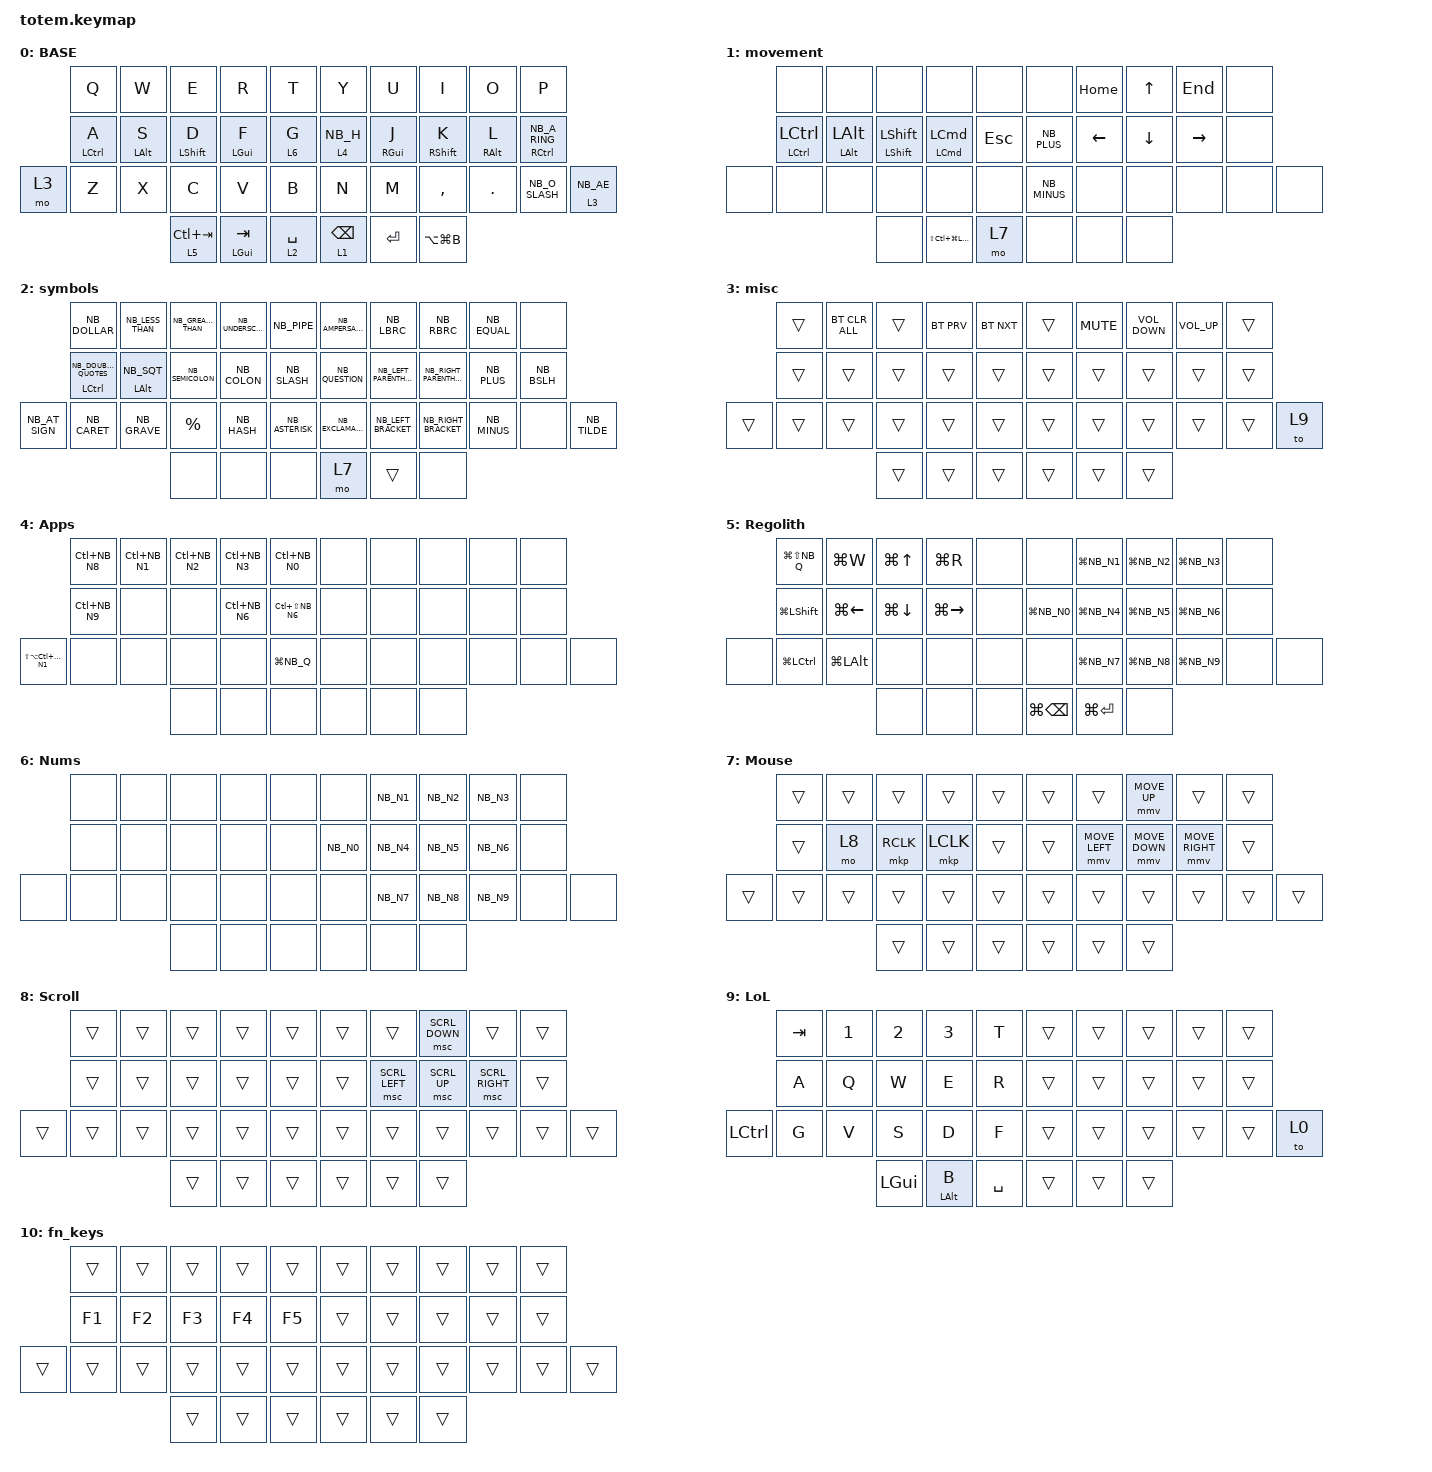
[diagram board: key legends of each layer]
//
//                                                        ▀▀▀▀▀     ▀▀▀▀▀          ▀▀█▀▀
//                                                        ▄▀▀▀▄  ▄  ▄▀▀▀▄  ▄  ▄▀▀▀▄  █  ▄▀▀▀▄
//                                                        █   █  █  █   █  █  █   █  █  █   █
//                                                         ▀▀▀   █   ▀▀▀   █   ▀▀▀   ▀   ▀▀▀
//                                                               █      ▄▄▄█▄▄▄    █   █  
//                                                               ▀      █  █  █     █▄█
//                                                             ▀▀▀▀▀    █  █  █      ▀
//                                                                      ▀  ▀  ▀
//
// ▄▄▄▄▄▄▄▄▄▄▄▄▄▄▄▄▄▄▄▄▄▄▄▄▄▄▄▄▄▄▄▄▄▄▄▄▄▄▄▄▄▄▄▄▄▄▄▄▄▄▄▄▄▄▄▄▄▄▄▄▄▄▄▄▄▄▄▄▄▄▄▄▄▄▄▄▄▄▄▄▄▄▄▄▄▄▄▄▄▄▄▄▄▄▄▄▄▄▄▄▄▄▄▄▄▄▄▄▄▄▄▄▄▄▄▄▄▄▄▄▄▄▄▄▄▄▄▄▄▄▄▄▄▄▄▄▄▄▄▄▄▄▄▄▄▄▄▄▄▄

#include "keys_nb.h"
#include <behaviors.dtsi>
#include <dt-bindings/zmk/bt.h>
#include <dt-bindings/zmk/keys.h>
#include <dt-bindings/zmk/pointing.h>

#define ZMK_POINTING_DEFAULT_MOVE_VAL 900
#define BASE 0
#define NAV  1
#define SYM  2
#define ADJ  3
#define TVP1 4
#define TVP2 5

&mt {
    compatible = "zmk,behavior-hold-tap";
    #binding-cells = <2>;
    flavor = "balanced";
    tapping-term-ms = <280>;
    quick-tap-ms = <175>;
    require-prior-idle-ms = <150>;
    bindings = <&kp>, <&kp>;

    #binding-cells = <2>;
    hold-trigger-on-release;
};

/ {
    combos {
        compatible = "zmk,combos";

        combo_esc {
            timeout-ms = <50>;
            key-positions = <0 1>;
            bindings = <&kp ESC>;
        };

        combo_tvp {
            timeout-ms = <100>;
            key-positions = <11 12 13>;
            bindings = <&kp LC(Z)>;
        };
    };

    macros {
        underscore: underscore {
            label = "underscore";
            compatible = "zmk,behavior-macro";
            #binding-cells = <0>;
            bindings =
                <&macro_press>,
                <&kp LSHFT>,
                <&macro_tap>,
                <&kp MINUS>,
                <&macro_release>,
                <&kp LSHFT>;
        };

        super_combo: super_combo {
            label = "SUPER_COMBO";
            compatible = "zmk,behavior-macro";
            #binding-cells = <0>;
            bindings =
                <&macro_press>,
                <&kp LCTRL &kp LSHIFT &kp LALT &kp LGUI>,
                <&macro_pause_for_release>,
                <&macro_release>,
                <&kp LCTRL &kp LSHIFT &kp LALT &kp LGUI>;
        };
    };

    behaviors {
    };

    keymap {
        compatible = "zmk,keymap";

        // ▄▄▄▄▄▄▄▄▄▄▄▄▄▄▄▄▄▄▄▄▄▄▄▄▄▄▄▄▄▄▄▄▄▄▄▄▄▄▄▄▄▄▄▄▄▄▄▄▄▄▄▄▄▄▄▄▄▄▄▄▄▄▄▄▄▄▄▄▄▄▄▄▄▄▄▄▄▄▄▄▄▄▄▄▄▄▄▄▄▄▄▄▄▄▄▄▄▄▄▄▄▄▄▄▄▄▄▄▄▄▄▄▄▄▄▄▄▄▄▄▄▄▄▄▄▄▄▄▄▄▄▄▄▄▄▄▄▄▄▄▄▄▄▄▄▄▄▄▄

        base_layer {
            // ┏━━━━━━━━━━━━━━━━━━━━━━━━━━━━━━━━━━━━━━━┓

            label = "BASE";

            // ┗━━━━━━━━━━━━━━━━━━━━━━━━━━━━━━━━━━━━━━━┛
            //             ┏━━━━━━━━━━━┳━━━━━━━━━━━┳━━━━━━━━━━━┳━━━━━━━━━━━┳━━━━━━━━━━━┓   ┏━━━━━━━━━━━┳━━━━━━━━━━━┳━━━━━━━━━━━┳━━━━━━━━━━━┳━━━━━━━━━━━┓
            //             ┃     Q     ┃     W     ┃     E     ┃     R     ┃     T     ┃   ┃     Y     ┃     U     ┃     I     ┃     O     ┃     P     ┃
            //             ┣━━━━━━━━━━━╋━━━━━━━━━━━╋━━━━━━━━━━━╋━━━━━━━━━━━╋━━━━━━━━━━━┫   ┣━━━━━━━━━━━╋━━━━━━━━━━━╋━━━━━━━━━━━╋━━━━━━━━━━━╋━━━━━━━━━━━┫
            //             ┃     A     ┃     S     ┃     D     ┃     F     ┃     G     ┃   ┃     H     ┃     J     ┃     K     ┃     L     ┃     Å     ┃
            // ┏━━━━━━━━━━━╋━━━━━━━━━━━╋━━━━━━━━━━━╋━━━━━━━━━━━╋━━━━━━━━━━━╋━━━━━━━━━━━┫   ┣━━━━━━━━━━━╋━━━━━━━━━━━╋━━━━━━━━━━━╋━━━━━━━━━━━╋━━━━━━━━━━━╋━━━━━━━━━━━┓
            // ┃           ┃     Z     ┃     X     ┃     C     ┃     V     ┃     B     ┃   ┃     N     ┃     M     ┃     ,     ┃     ,     ┃     Ø     ┃     Æ     ┃
            // ┗━━━━━━━━━━━┻━━━━━━━━━━━┻━━━━━━━━━━━╋━━━━━━━━━━━╋━━━━━━━━━━━╋━━━━━━━━━━━┫   ┣━━━━━━━━━━━╋━━━━━━━━━━━╋━━━━━━━━━━━╋━━━━━━━━━━━┻━━━━━━━━━━━┻━━━━━━━━━━━┛
            //                                     ┃    DEL    ┃    TAB    ┃    SPC    ┃   ┃   BSPC    ┃   ENTER   ┃   BSPC    ┃
            //                                     ┗━━━━━━━━━━━┻━━━━━━━━━━━┻━━━━━━━━━━━┛   ┗━━━━━━━━━━━┻━━━━━━━━━━━┻━━━━━━━━━━━┛

            bindings = <
       &kp Q        &kp W       &kp E          &kp R         &kp T          &kp Y       &kp U       &kp I          &kp O       &kp P
       &mt LCTRL A  &mt LALT S  &mt LSHFT D    &mt LGUI F    &lt 6 G        &lt 4 NB_H  &mt RGUI J  &mt RSHIFT K   &mt RALT L  &mt RCTRL NB_A_RING
&mo 3  &kp Z        &kp X       &kp C          &kp V         &kp B          &kp N       &kp M       &kp COMMA      &kp DOT     &kp NB_O_SLASH       &lt 3 NB_AE
                                &lt 5 LC(TAB)  &mt LGUI TAB  &lt 2 SPACE    &lt 1 BSPC  &kp ENTER   &kp LA(LG(B))
            >;
        };

        // ▄▄▄▄▄▄▄▄▄▄▄▄▄▄▄▄▄▄▄▄▄▄▄▄▄▄▄▄▄▄▄▄▄▄▄▄▄▄▄▄▄▄▄▄▄▄▄▄▄▄▄▄▄▄▄▄▄▄▄▄▄▄▄▄▄▄▄▄▄▄▄▄▄▄▄▄▄▄▄▄▄▄▄▄▄▄▄▄▄▄▄▄▄▄▄▄▄▄▄▄▄▄▄▄▄▄▄▄▄▄▄▄▄▄▄▄▄▄▄▄▄▄▄▄▄▄▄▄▄▄▄▄▄▄▄▄▄▄▄▄▄▄▄▄▄▄▄▄▄

        movement {
            // ┏━━━━━━━━━━━━━━━━━━━━━━━━━━━━━━━━━━━━━━━┓

            label = "movement";

            // ┗━━━━━━━━━━━━━━━━━━━━━━━━━━━━━━━━━━━━━━━┛
            //             ┏━━━━━━━━━━━┳━━━━━━━━━━━┳━━━━━━━━━━━┳━━━━━━━━━━━┳━━━━━━━━━━━┓   ┏━━━━━━━━━━━┳━━━━━━━━━━━┳━━━━━━━━━━━┳━━━━━━━━━━━┳━━━━━━━━━━━┓
            //             ┃           ┃           ┃           ┃           ┃           ┃   ┃           ┃           ┃     UP    ┃           ┃           ┃
            //             ┣━━━━━━━━━━━╋━━━━━━━━━━━╋━━━━━━━━━━━╋━━━━━━━━━━━╋━━━━━━━━━━━┫   ┣━━━━━━━━━━━╋━━━━━━━━━━━╋━━━━━━━━━━━╋━━━━━━━━━━━╋━━━━━━━━━━━┫
            //             ┃   LCTRL   ┃    LALT   ┃   LSHIFT  ┃    LGUI   ┃           ┃   ┃           ┃    LEFT   ┃    DOWN   ┃   RIGHT   ┃           ┃
            // ┏━━━━━━━━━━━╋━━━━━━━━━━━╋━━━━━━━━━━━╋━━━━━━━━━━━╋━━━━━━━━━━━╋━━━━━━━━━━━┫   ┣━━━━━━━━━━━╋━━━━━━━━━━━╋━━━━━━━━━━━╋━━━━━━━━━━━╋━━━━━━━━━━━╋━━━━━━━━━━━┓
            // ┃           ┃           ┃           ┃           ┃           ┃           ┃   ┃           ┃           ┃           ┃           ┃           ┃           ┃
            // ┗━━━━━━━━━━━┻━━━━━━━━━━━┻━━━━━━━━━━━╋━━━━━━━━━━━╋━━━━━━━━━━━╋━━━━━━━━━━━┫   ┣━━━━━━━━━━━╋━━━━━━━━━━━╋━━━━━━━━━━━╋━━━━━━━━━━━┻━━━━━━━━━━━┻━━━━━━━━━━━┛
            //                                     ┃           ┃ SUPER KEY ┃           ┃   ┃           ┃           ┃           ┃
            //                                     ┗━━━━━━━━━━━┻━━━━━━━━━━━┻━━━━━━━━━━━┛   ┗━━━━━━━━━━━┻━━━━━━━━━━━┻━━━━━━━━━━━┛

            bindings = <
       &none                          &none                  &none                      &none                          &none      &none         &kp HOME  &kp UP    &kp END    &none
       &mt LEFT_CONTROL LEFT_CONTROL  &mt LEFT_ALT LEFT_ALT  &mt LEFT_SHIFT LEFT_SHIFT  &mt LEFT_COMMAND LEFT_COMMAND  &kp ESC    &kp NB_PLUS   &kp LEFT  &kp DOWN  &kp RIGHT  &none
&none  &none                          &none                  &none                      &none                          &none      &kp NB_MINUS  &none     &none     &none      &none  &none
                                                             &none                      &kp LS(LC(LG(LEFT_ALT)))       &mo 7      &none         &none     &none
            >;
        };

        // ▄▄▄▄▄▄▄▄▄▄▄▄▄▄▄▄▄▄▄▄▄▄▄▄▄▄▄▄▄▄▄▄▄▄▄▄▄▄▄▄▄▄▄▄▄▄▄▄▄▄▄▄▄▄▄▄▄▄▄▄▄▄▄▄▄▄▄▄▄▄▄▄▄▄▄▄▄▄▄▄▄▄▄▄▄▄▄▄▄▄▄▄▄▄▄▄▄▄▄▄▄▄▄▄▄▄▄▄▄▄▄▄▄▄▄▄▄▄▄▄▄▄▄▄▄▄▄▄▄▄▄▄▄▄▄▄▄▄▄▄▄▄▄▄▄▄▄▄▄

        Symbols {
            // ┏━━━━━━━━━━━━━━━━━━━━━━━━━━━━━━━━━━━━━━━┓

            label = "symbols";

            // ┗━━━━━━━━━━━━━━━━━━━━━━━━━━━━━━━━━━━━━━━┛
            //             ┏━━━━━━━━━━━┳━━━━━━━━━━━┳━━━━━━━━━━━┳━━━━━━━━━━━┳━━━━━━━━━━━┓   ┏━━━━━━━━━━━┳━━━━━━━━━━━┳━━━━━━━━━━━┳━━━━━━━━━━━┳━━━━━━━━━━━┓
            //             ┃     \     ┃     <     ┃      >    ┃     _     ┃     |     ┃   ┃     =     ┃     {     ┃     }     ┃     &     ┃     ~     ┃
            //             ┣━━━━━━━━━━━╋━━━━━━━━━━━╋━━━━━━━━━━━╋━━━━━━━━━━━╋━━━━━━━━━━━┫   ┣━━━━━━━━━━━╋━━━━━━━━━━━╋━━━━━━━━━━━╋━━━━━━━━━━━╋━━━━━━━━━━━┫
            //             ┃     "     ┃     '     ┃     ;     ┃     :     ┃     /     ┃   ┃     +     ┃     (     ┃     )     ┃     ?     ┃     @     ┃
            // ┏━━━━━━━━━━━╋━━━━━━━━━━━╋━━━━━━━━━━━╋━━━━━━━━━━━╋━━━━━━━━━━━╋━━━━━━━━━━━┫   ┣━━━━━━━━━━━╋━━━━━━━━━━━╋━━━━━━━━━━━╋━━━━━━━━━━━╋━━━━━━━━━━━╋━━━━━━━━━━━┓
            // ┃           ┃           ┃     `     ┃     %     ┃     #     ┃     *     ┃   ┃     -     ┃     [     ┃     ]     ┃     !     ┃     $     ┃           ┃
            // ┗━━━━━━━━━━━┻━━━━━━━━━━━┻━━━━━━━━━━━╋━━━━━━━━━━━╋━━━━━━━━━━━╋━━━━━━━━━━━┫   ┣━━━━━━━━━━━╋━━━━━━━━━━━╋━━━━━━━━━━━╋━━━━━━━━━━━┻━━━━━━━━━━━┻━━━━━━━━━━━┛
            //                                     ┃           ┃           ┃           ┃   ┃           ┃           ┃           ┃
            //                                     ┗━━━━━━━━━━━┻━━━━━━━━━━━┻━━━━━━━━━━━┛   ┗━━━━━━━━━━━┻━━━━━━━━━━━┻━━━━━━━━━━━┛

            bindings = <
                &kp NB_DOLLAR               &kp NB_LESS_THAN     &kp NB_GREATER_THAN  &kp NB_UNDERSCORE  &kp NB_PIPE        &kp NB_AMPERSAND    &kp NB_LBRC              &kp NB_RBRC               &kp NB_EQUAL  &none
                &mt LCTRL NB_DOUBLE_QUOTES  &mt LEFT_ALT NB_SQT  &kp NB_SEMICOLON     &kp NB_COLON       &kp NB_SLASH       &kp NB_QUESTION     &kp NB_LEFT_PARENTHESIS  &kp NB_RIGHT_PARENTHESIS  &kp NB_PLUS   &kp NB_BSLH
&kp NB_AT_SIGN  &kp NB_CARET                &kp NB_GRAVE         &kp PRCNT            &kp NB_HASH        &kp NB_ASTERISK    &kp NB_EXCLAMATION  &kp NB_LEFT_BRACKET      &kp NB_RIGHT_BRACKET      &kp NB_MINUS  &none        &kp NB_TILDE
                                                                 &none                &none              &none              &mo 7               &trans                   &none
            >;
        };

        // ▄▄▄▄▄▄▄▄▄▄▄▄▄▄▄▄▄▄▄▄▄▄▄▄▄▄▄▄▄▄▄▄▄▄▄▄▄▄▄▄▄▄▄▄▄▄▄▄▄▄▄▄▄▄▄▄▄▄▄▄▄▄▄▄▄▄▄▄▄▄▄▄▄▄▄▄▄▄▄▄▄▄▄▄▄▄▄▄▄▄▄▄▄▄▄▄▄▄▄▄▄▄▄▄▄▄▄▄▄▄▄▄▄▄▄▄▄▄▄▄▄▄▄▄▄▄▄▄▄▄▄▄▄▄▄▄▄▄▄▄▄▄▄▄▄▄▄▄▄
        // ▄▄▄▄▄▄▄▄▄▄▄▄▄▄▄▄▄▄▄▄▄▄▄▄▄▄▄▄▄▄▄▄▄▄▄▄▄▄▄▄▄▄▄▄▄▄▄▄▄▄▄▄▄▄▄▄▄▄▄▄▄▄▄▄▄▄▄▄▄▄▄▄▄▄▄▄▄▄▄▄▄▄▄▄▄▄▄▄▄▄▄▄▄▄▄▄▄▄▄▄▄▄▄▄▄▄▄▄▄▄▄▄▄▄▄▄▄▄▄▄▄▄▄▄▄▄▄▄▄▄▄▄▄▄▄▄▄▄▄▄▄▄▄▄▄▄▄▄▄
        // ▄▄▄▄▄▄▄▄▄▄▄▄▄▄▄▄▄▄▄▄▄▄▄▄▄▄▄▄▄▄▄▄▄▄▄▄▄▄▄▄▄▄▄▄▄▄▄▄▄▄▄▄▄▄▄▄▄▄▄▄▄▄▄▄▄▄▄▄▄▄▄▄▄▄▄▄▄▄▄▄▄▄▄▄▄▄▄▄▄▄▄▄▄▄▄▄▄▄▄▄▄▄▄▄▄▄▄▄▄▄▄▄▄▄▄▄▄▄▄▄▄▄▄▄▄▄▄▄▄▄▄▄▄▄▄▄▄▄▄▄▄▄▄▄▄▄▄▄▄

        misc {
            bindings = <
        &trans  &bt BT_CLR_ALL  &trans  &bt BT_PRV  &bt BT_NXT    &trans  &kp K_MUTE  &kp C_VOLUME_DOWN  &kp C_VOLUME_UP  &trans
        &trans  &trans          &trans  &trans      &trans        &trans  &trans      &trans             &trans           &trans
&trans  &trans  &trans          &trans  &trans      &trans        &trans  &trans      &trans             &trans           &trans  &to 9
                                &trans  &trans      &trans        &trans  &trans      &trans
            >;
        };

        Apps {
            bindings = <
                           &kp LC(NB_N8)  &kp LC(NB_N1)  &kp LC(NB_N2)  &kp LC(NB_N3)  &kp LC(NB_N0)        &none  &none  &none  &none  &none
                           &kp LC(NB_N9)  &none          &none          &kp LC(NB_N6)  &kp LC(LS(NB_N6))    &none  &none  &none  &none  &none
&kp LS(LA(LC(LG(NB_N1))))  &none          &none          &none          &none          &kp LG(NB_Q)         &none  &none  &none  &none  &none  &none
                                                         &none          &none          &none                &none  &none  &none
            >;
        };

        Regolith {
            bindings = <
       &kp LG(LS(NB_Q))    &kp LG(W)           &kp LG(UP)    &kp LG(R)      &none    &none              &kp LG(NB_N1)  &kp LG(NB_N2)  &kp LG(NB_N3)  &none
       &kp LG(LEFT_SHIFT)  &kp LG(LEFT_ARROW)  &kp LG(DOWN)  &kp LG(RIGHT)  &none    &kp LG(NB_N0)      &kp LG(NB_N4)  &kp LG(NB_N5)  &kp LG(NB_N6)  &none
&none  &kp LG(LCTRL)       &kp LG(LEFT_ALT)    &none         &none          &none    &none              &kp LG(NB_N7)  &kp LG(NB_N8)  &kp LG(NB_N9)  &none  &none
                                               &none         &none          &none    &kp LG(BACKSPACE)  &kp LG(ENTER)  &none
            >;
        };

        Nums {
            bindings = <
       &none  &none  &none  &none  &none    &none      &kp NB_N1  &kp NB_N2  &kp NB_N3  &none
       &none  &none  &none  &none  &none    &kp NB_N0  &kp NB_N4  &kp NB_N5  &kp NB_N6  &none
&none  &none  &none  &none  &none  &none    &none      &kp NB_N7  &kp NB_N8  &kp NB_N9  &none  &none
                     &none  &none  &none    &none      &none      &none
            >;
        };

        Mouse {
            bindings = <
        &trans  &trans  &trans     &trans     &trans    &trans  &trans          &mmv MOVE_UP    &trans           &trans
        &trans  &mo 8   &mkp RCLK  &mkp LCLK  &trans    &trans  &mmv MOVE_LEFT  &mmv MOVE_DOWN  &mmv MOVE_RIGHT  &trans
&trans  &trans  &trans  &trans     &trans     &trans    &trans  &trans          &trans          &trans           &trans  &trans
                        &trans     &trans     &trans    &trans  &trans          &trans
            >;
        };

        Scroll {
            bindings = <
        &trans  &trans  &trans  &trans  &trans    &trans  &trans          &msc SCRL_DOWN  &trans           &trans
        &trans  &trans  &trans  &trans  &trans    &trans  &msc SCRL_LEFT  &msc SCRL_UP    &msc SCRL_RIGHT  &trans
&trans  &trans  &trans  &trans  &trans  &trans    &trans  &trans          &trans          &trans           &trans  &trans
                        &trans  &trans  &trans    &trans  &trans          &trans
            >;
        };

        LoL {
            bindings = <
           &kp TAB  &kp N1  &kp NUMBER_2  &kp NUMBER_3    &kp T        &trans  &trans  &trans  &trans  &trans
           &kp A    &kp Q   &kp W         &kp E           &kp R        &trans  &trans  &trans  &trans  &trans
&kp LCTRL  &kp G    &kp V   &kp S         &kp D           &kp F        &trans  &trans  &trans  &trans  &trans  &to 0
                            &kp LEFT_GUI  &mt LEFT_ALT B  &kp SPACE    &trans  &trans  &trans
            >;
        };

        fn_keys {
            bindings = <
        &trans  &trans  &trans  &trans  &trans    &trans  &trans  &trans  &trans  &trans
        &kp F1  &kp F2  &kp F3  &kp F4  &kp F5    &trans  &trans  &trans  &trans  &trans
&trans  &trans  &trans  &trans  &trans  &trans    &trans  &trans  &trans  &trans  &trans  &trans
                        &trans  &trans  &trans    &trans  &trans  &trans
            >;
        };
    };
};
